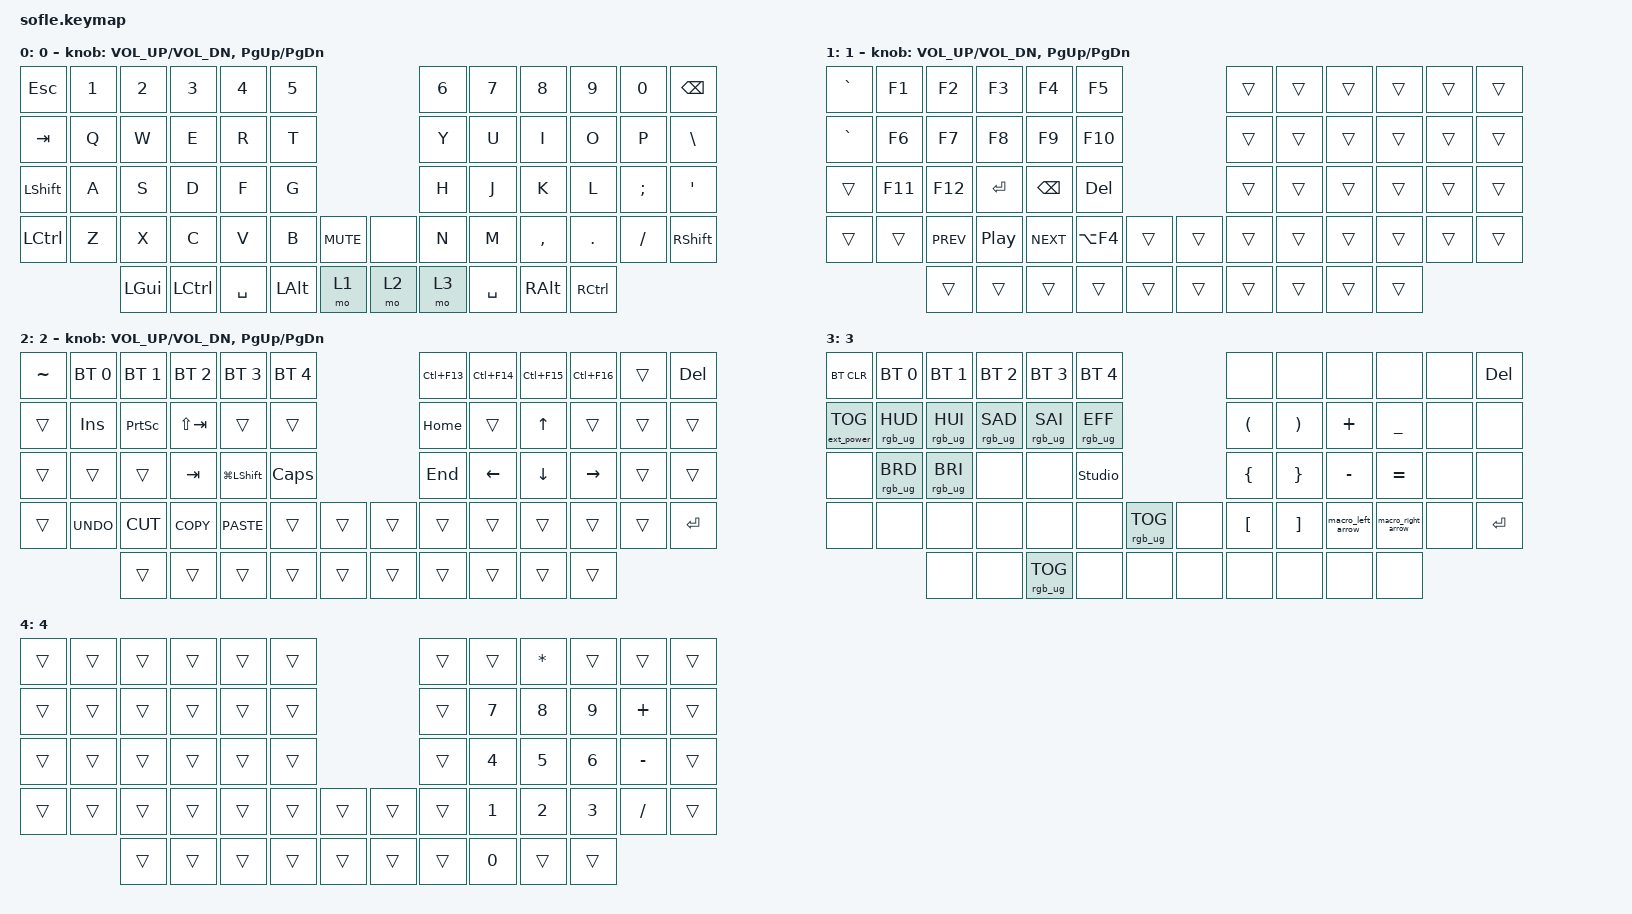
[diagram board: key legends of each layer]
/*
 * Copyright (c) 2020 The ZMK Contributors
 *
 * SPDX-License-Identifier: MIT
 */

#include <behaviors.dtsi>
#include <dt-bindings/zmk/keys.h>
#include <dt-bindings/zmk/bt.h>
#include <dt-bindings/zmk/outputs.h>
#include <dt-bindings/zmk/ext_power.h>
#include <dt-bindings/led/led.h>
#include <dt-bindings/zmk/backlight.h>
#include <dt-bindings/zmk/rgb.h>
#include <dt-bindings/zmk/reset.h>

/ {
    combos {
        compatible = "zmk,combos";

        screenshot_mac {
            bindings = <&kp LS(LC(X))>;
            key-positions = <40 41 39>;
        };

        screenshot_windows {
            bindings = <&kp LS(LG(S))>;
            key-positions = <40 39 38>;
        };

        alt_delete {
            bindings = <&kp DEL>;
            key-positions = <11 10>;
        };

        alt_tilda {
            bindings = <&kp TILDE>;
            key-positions = <0 1>;
        };

        toggle_layer_4 {
            bindings = <&tog 4>;
            key-positions = <59 55>;
        };
    };

    macros {
        macro_right_arrow: macro_right_arrow {
            compatible = "zmk,behavior-macro";
            #binding-cells = <0>;
            bindings = <&kp MINUS &kp GREATER_THAN>;
            label = "MACRO_RIGHT_ARROW";
        };

        macro_left_arrow: macro_left_arrow {
            compatible = "zmk,behavior-macro";
            #binding-cells = <0>;
            bindings = <&kp LESS_THAN &kp MINUS>;
            label = "MACRO_LEFT_ARROW";
        };
    };

    keymap {
        compatible = "zmk,keymap";

        layer_0 {
            display-name = "0";

            // ------------------------------------------------------------------------------------------------------------
            // |   `   |  1  |  2  |  3   |  4   |  5   |                   |  6   |  7    |  8    |  9   |   0   |       |
            // |  ESC  |  Q  |  W  |  E   |  R   |  T   |                   |  Y   |  U    |  I    |  O   |   P   | BKSPC |
            // |  TAB  |  A  |  S  |  D   |  F   |  G   |                   |  H   |  J    |  K    |  L   |   ;   |   '   |
            // | SHIFT |  Z  |  X  |  C   |  V   |  B   |  MUTE  |  |       |  N   |  M    |  ,    |  .   |   /   | SHIFT |
            //               | GUI | ALT  | CTRL | LOWER|  ENTER |  | SPACE | RAISE| CTRL  | ALT   | GUI  |

            bindings = <
&kp ESC    &kp N1  &kp N2    &kp N3     &kp N4     &kp N5                         &kp N6  &kp N7     &kp N8     &kp N9     &kp N0    &kp BSPC
&kp TAB    &kp Q   &kp W     &kp E      &kp R      &kp T                          &kp Y   &kp U      &kp I      &kp O      &kp P     &kp BSLH
&kp LSHFT  &kp A   &kp S     &kp D      &kp F      &kp G                          &kp H   &kp J      &kp K      &kp L      &kp SEMI  &kp SQT
&kp LCTRL  &kp Z   &kp X     &kp C      &kp V      &kp B     &kp C_MUTE    &none  &kp N   &kp M      &kp COMMA  &kp DOT    &kp FSLH  &kp RSHFT
                   &kp LGUI  &kp LCTRL  &kp SPACE  &kp LALT  &mo 1         &mo 2  &mo 3   &kp SPACE  &kp RALT   &kp RCTRL
            >;

            sensor-bindings = <&inc_dec_kp C_VOL_UP C_VOL_DN &inc_dec_kp PG_UP PG_DN>;
        };

        layer_1 {
            display-name = "1";

            // TODO: Some binds are waiting for shifted keycode support.
            // ------------------------------------------------------------------------------------------------------------
            // |       |  F1 |  F2 |  F3  |  F4  |  F5  |                   |  F6  |  F7   |  F8   |  F9  |  F10  |  F11  |
            // |   `   |  1  |  2  |  3   |  4   |  5   |                   |  6   |  7    |  8    |  9   |   0   |  F12  |
            // |       |  !  |  @  |  #   |  $   |  %   |                   |  ^   |  &    |  *    |  (   |   )   |   |   |
            // |       |  =  |  -  |  +   |  {   |  }   |        |  |       |  [   |  ]    |  ;    |  :   |   \   |       |
            //               |     |      |      |      |        |  |       |      |       |       |      |

            bindings = <
&kp GRAVE  &kp F1   &kp F2      &kp F3     &kp F4      &kp F5                        &trans  &trans  &trans  &trans  &trans  &trans
&kp GRAVE  &kp F6   &kp F7      &kp F8     &kp F9      &kp F10                       &trans  &trans  &trans  &trans  &trans  &trans
&trans     &kp F11  &kp F12     &kp ENTER  &kp BSPC    &kp DELETE                    &trans  &trans  &trans  &trans  &trans  &trans
&trans     &trans   &kp C_PREV  &kp C_PP   &kp C_NEXT  &kp LA(F4)  &trans    &trans  &trans  &trans  &trans  &trans  &trans  &trans
                    &trans      &trans     &trans      &trans      &trans    &trans  &trans  &trans  &trans  &trans
            >;

            sensor-bindings = <&inc_dec_kp C_VOL_UP C_VOL_DN &inc_dec_kp PG_UP PG_DN>;
        };

        layer_2 {
            display-name = "2";

            // ------------------------------------------------------------------------------------------------------------
            // | BTCLR | BT1  | BT2  |  BT3  |  BT4  |  BT5 |                |      |      |       |      |       |       |
            // |       | INS  | PSCR | GUI   |       |      |                | PGUP |      |   ^   |      |       |       |
            // |       | ALT  | CTRL | SHIFT |       | CAPS |                | PGDN |   <- |   v   |  ->  |  DEL  | BKSPC |
            // |       | UNDO | CUT  | COPY  | PASTE |      |      |  |      |      |      |       |      |       |       |
            //                |      |       |       |      |      |  |      |      |      |       |      |

            bindings = <
&kp TILDE  &bt BT_SEL 0  &bt BT_SEL 1  &bt BT_SEL 2  &bt BT_SEL 3        &bt BT_SEL 4                    &kp LC(F13)  &kp LC(F14)  &kp LC(F15)  &kp LC(F16)  &trans  &kp DEL
&trans     &kp INS       &kp PSCRN     &kp LS(TAB)   &trans              &trans                          &kp HOME     &trans       &kp UP       &trans       &trans  &trans
&trans     &trans        &trans        &kp TAB       &kp LG(LEFT_SHIFT)  &kp CLCK                        &kp END      &kp LEFT     &kp DOWN     &kp RIGHT    &trans  &trans
&trans     &kp K_UNDO    &kp K_CUT     &kp K_COPY    &kp K_PASTE         &trans        &trans    &trans  &trans       &trans       &trans       &trans       &trans  &kp ENTER
                         &trans        &trans        &trans              &trans        &trans    &trans  &trans       &trans       &trans       &trans
            >;

            sensor-bindings = <&inc_dec_kp C_VOL_UP C_VOL_DN &inc_dec_kp PG_UP PG_DN>;
        };

        layer_3 {
            // ----------------------------------------------------------------------------------------------------------------------------
            // | BTCLR  |  BT1    |  BT2    |   BT3   |   BT4   |   BT5   |                  |      |      |       |      |       |       |
            // | EXTPWR | RGB_HUD | RGB_HUI | RGB_SAD | RGB_SAI | RGB_EFF |                  |      |      |       |      |       |       |
            // |        | RGB_BRD | RGB_BRI |         |         |         |                  |      |      |       |      |       |       |
            // |        |         |         |         |         |         | RGB_TOG | |      |      |      |       |      |       |       |
            //                    |         |         |         |         |         | |      |      |      |       |      |

            display-name = "3";
            bindings = <
&bt BT_CLR         &bt BT_SEL 0     &bt BT_SEL 1     &bt BT_SEL 2     &bt BT_SEL 3     &bt BT_SEL 4                               &none                 &none                  &none              &none               &none  &kp DELETE
&ext_power EP_TOG  &rgb_ug RGB_HUD  &rgb_ug RGB_HUI  &rgb_ug RGB_SAD  &rgb_ug RGB_SAI  &rgb_ug RGB_EFF                            &kp LEFT_PARENTHESIS  &kp RIGHT_PARENTHESIS  &kp PLUS           &kp UNDERSCORE      &none  &none
&none              &rgb_ug RGB_BRD  &rgb_ug RGB_BRI  &none            &none            &studio_unlock                             &kp LEFT_BRACE        &kp RIGHT_BRACE        &kp MINUS          &kp EQUAL           &none  &none
&none              &none            &none            &none            &none            &none            &rgb_ug RGB_TOG    &none  &kp LEFT_BRACKET      &kp RIGHT_BRACKET      &macro_left_arrow  &macro_right_arrow  &none  &kp ENTER
                                    &none            &none            &rgb_ug RGB_TOG  &none            &none              &none  &none                 &none                  &none              &none
            >;
        };

        layer_4 {
            display-name = "4";
            bindings = <
&trans  &trans  &trans  &trans  &trans  &trans                    &trans  &trans  &kp STAR  &trans  &trans     &trans
&trans  &trans  &trans  &trans  &trans  &trans                    &trans  &kp N7  &kp N8    &kp N9  &kp PLUS   &trans
&trans  &trans  &trans  &trans  &trans  &trans                    &trans  &kp N4  &kp N5    &kp N6  &kp MINUS  &trans
&trans  &trans  &trans  &trans  &trans  &trans  &trans    &trans  &trans  &kp N1  &kp N2    &kp N3  &kp FSLH   &trans
                &trans  &trans  &trans  &trans  &trans    &trans  &trans  &kp N0  &trans    &trans
            >;
        };
    };
};
